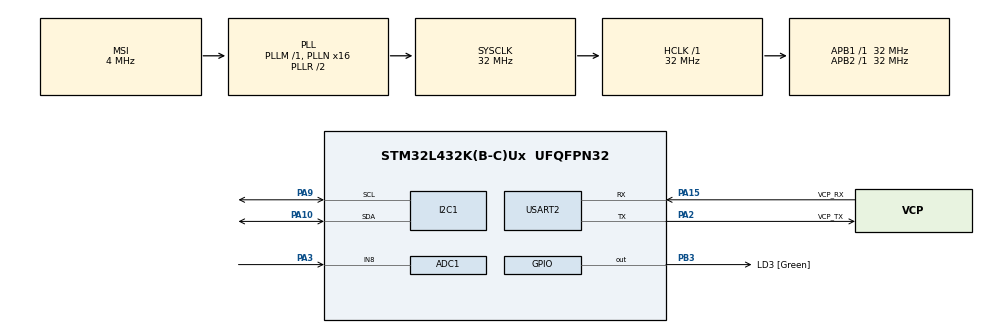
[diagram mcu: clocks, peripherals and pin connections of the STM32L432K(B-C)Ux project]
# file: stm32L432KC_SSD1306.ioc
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ADC1.Channel-1\#ChannelRegularConversion=ADC_CHANNEL_8
ADC1.ContinuousConvMode=ENABLE
ADC1.NbrOfConversionFlag=1
ADC1.OffsetNumber-1\#ChannelRegularConversion=ADC_OFFSET_NONE
ADC1.Rank-1\#ChannelRegularConversion=1
ADC1.SamplingTime-1\#ChannelRegularConversion=ADC_SAMPLETIME_2CYCLES_5
ADC1.master=1
I2C1.Timing=0x00707CBB
Mcu.Family=STM32L4
Mcu.Name=STM32L432K(B-C)Ux
Mcu.Package=UFQFPN32
NVIC.PriorityGroup=NVIC_PRIORITYGROUP_4
PA0.GPIO_Label=MCO [High speed clock in]
PA0.Mode=HSE-External-Clock-Source-for-LittleOrca
PA0.Signal=RCC_CK_IN
PA10.Mode=I2C
PA10.Signal=I2C1_SDA
PA13\ (JTMS-SWDIO).GPIO_Label=SWDIO
PA13\ (JTMS-SWDIO).Mode=Serial_Wire
PA13\ (JTMS-SWDIO).Signal=SYS_JTMS-SWDIO
PA14\ (JTCK-SWCLK).GPIO_Label=SWCLK
PA14\ (JTCK-SWCLK).Mode=Serial_Wire
PA14\ (JTCK-SWCLK).Signal=SYS_JTCK-SWCLK
PA15\ (JTDI).GPIO_Label=VCP_RX
PA15\ (JTDI).Mode=Asynchronous
PA15\ (JTDI).Signal=USART2_RX
PA2.GPIO_Label=VCP_TX
PA2.Mode=Asynchronous
PA2.Signal=USART2_TX
PA3.Signal=ADCx_IN8
PA9.Mode=I2C
PA9.Signal=I2C1_SCL
PB3\ (JTDO-TRACESWO).GPIO_Label=LD3 [Green]
PB3\ (JTDO-TRACESWO).Signal=GPIO_Output
PC14-OSC32_IN\ (PC14).Mode=LSE-External-Oscillator
PC14-OSC32_IN\ (PC14).Signal=RCC_OSC32_IN
PC15-OSC32_OUT\ (PC15).Mode=LSE-External-Oscillator
PC15-OSC32_OUT\ (PC15).Signal=RCC_OSC32_OUT
ProjectManager.HeapSize=0x200
ProjectManager.StackSize=0x400
ProjectManager.TargetToolchain=STM32CubeIDE
RCC.ADCFreq_Value=32000000
RCC.AHBFreq_Value=32000000
RCC.APB1Freq_Value=32000000
RCC.APB1TimFreq_Value=32000000
RCC.APB2Freq_Value=32000000
RCC.APB2TimFreq_Value=32000000
RCC.CortexFreq_Value=32000000
RCC.HCLKFreq_Value=32000000
RCC.HSE_VALUE=8000000
RCC.HSI16_VALUE=16000000
RCC.HSI48_VALUE=48000000
RCC.HSI_VALUE=16000000
RCC.MSI_VALUE=4000000
RCC.PLLMUL=RCC_PLLMUL_4
RCC.PLLN=16
RCC.PLLSAI1N=16
RCC.SYSCLKFreq_VALUE=32000000
RCC.SYSCLKSource=RCC_SYSCLKSOURCE_PLLCLK
RCC.USBFreq_Value=32000000
RCC.VCOOutputFreq_Value=64000000
SH.ADCx_IN8.0=ADC1_IN8,IN8-Single-Ended
USART2.VirtualMode-Asynchronous=VM_ASYNC
board=NUCLEO-L432KC

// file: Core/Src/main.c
/* USER CODE BEGIN Header */
/**
  ******************************************************************************
  * @file           : main.c
  * @brief          : Main program body
  ******************************************************************************
  * @attention
  *
  * <h2><center>&copy; Copyright (c) 2020 STMicroelectronics.
  * All rights reserved.</center></h2>
  *
  * This software component is licensed by ST under BSD 3-Clause license,
  * the "License"; You may not use this file except in compliance with the
  * License. You may obtain a copy of the License at:
  *                        opensource.org/licenses/BSD-3-Clause
  *
  ******************************************************************************
  */
/* USER CODE END Header */

#include "main.h"
/* USER CODE BEGIN Includes */
#include <ssd1306_tests.h>
#include <ssd1306.h>
#include <string.h>
#include <stdio.h>
#include <stdbool.h>
/* USER CODE END Includes */

/* USER CODE BEGIN PTD */
typedef struct {
char height;
char width;
bool blockShape[3][3];
}block;

 block *blocks[4];
 block longBlock = {.height =4,.width =1, .blockShape ={{1,1,1,1}}};
 block blitzBlock = {.height = 2,.width = 3, .blockShape = {{0,1,1},{1,1,0}}};
 block Lblock = {.height =3,.width =2,.blockShape = {{1,1},{1,0},{1,1}}};
 block Tblock = {.height = 22,.width =3,.blockShape = {{1,1,1},{0,1,0}}};

typedef struct {
	int bufferheight;// = 4;

	int blockheight; //= 0;
	int blockwidth; // = 0;

    int xCoordUnderBrick;// = 0; //TrackHeight Of bootom of brick
    int yCoordLeftBrick;// = 0; //Tack ypos of brick from lest side

	int height;// = 16 + bufferheight;
	int width;// = 8;
	int score;// = 0;
	bool playingfield[20][8];     /*= {{0,0,0,0,0,0,0,0}  //BUFF
                                       ,{0,0,0,0,0,0,0,0}  //BUFF
                                    ,{0,0,0,0,0,0,0,0}  //BUFF
                                       ,{0,0,0,0,0,0,0,0}  //BUFF
                                       ,{0,0,0,0,0,0,0,0}  //1
   		                         ,{0,0,0,0,0,0,0,0}  //2
                                     ,{0,0,0,0,0,0,0,0}  //3
                                     ,{0,0,0,0,0,0,0,0}  //4
	                                 ,{0,0,0,0,0,0,0,0}  //5
	                                 ,{0,0,0,0,0,0,0,0}  //6
	                                 ,{0,0,0,0,0,0,0,0}  //6
	                                 ,{0,0,0,0,0,0,0,0}  //7
	                                 ,{0,0,0,0,0,0,0,0}  //8
	                                 ,{0,0,0,0,0,0,0,0}  //9
	                                 ,{0,0,0,0,0,0,0,0}  //10
	                                 ,{0,0,0,0,0,0,0,0}  //11
		                         ,{0,0,0,0,0,0,0,0}  //12
		                         ,{0,0,0,0,0,0,0,0}  //13
		                         ,{0,0,0,0,0,0,0,0}  //14
		                         ,{0,0,0,0,0,0,0,0}  //15
		                         ,{0,0,0,0,0,0,0,0}};*///16

	//For when block is being placed (has to do with die checking)
	bool ghostBlockField[20][8];/*= {{0,0,0,0,0,0,0,0}  //BUFF
                                   ,{0,0,0,0,0,0,0,0}  //BUFF
                                          ,{0,0,0,0,0,0,0,0}  //BUFF
                                          ,{0,0,0,0,0,0,0,0}  //BUFF
	                                  ,{0,0,0,0,0,0,0,0}  //1
    		                          ,{0,0,0,0,0,0,0,0}  //2
                                          ,{0,0,0,0,0,0,0,0}  //3
                                          ,{0,0,0,0,0,0,0,0}  //4
	                                  ,{0,0,0,0,0,0,0,0}  //5
	                                  ,{0,0,0,0,0,0,0,0}  //6
	                                  ,{0,0,0,0,0,0,0,0}  //6
	                                  ,{0,0,0,0,0,0,0,0}  //7
	                                  ,{0,0,0,0,0,0,0,0}  //8
	                                  ,{0,0,0,0,0,0,0,0}  //9
	                                  ,{0,0,0,0,0,0,0,0}  //10
	                                  ,{0,0,0,0,0,0,0,0}  //11
		                          ,{0,0,0,0,0,0,0,0}  //12
		                          ,{0,0,0,0,0,0,0,0}  //13
		                          ,{0,0,0,0,0,0,0,0}  //14
		                          ,{0,0,0,0,0,0,0,0}  //15
		                          ,{0,0,0,0,0,0,0,0}};//16 */
} tetrisgame;

/* USER CODE END PTD */

/* USER CODE BEGIN PD */
#define SSD1306_USE_I2C
#define __DEBUG 1
#define BUFFERSIZE 100
#define I2CBUF	12
#define debug_print(x) 	do { if ( __DEBUG ) { strcpy(uartBuffer, x); HAL_UART_Transmit(&huart2, (unsigned char*) uartBuffer, strlen(uartBuffer), HAL_MAX_DELAY); }} while (0)
/* USER CODE END PD */

/* USER CODE BEGIN PM */
void SystemClock_Config(void);
static void MX_GPIO_Init(void);
static void MX_USART2_UART_Init(void);
static void MX_I2C1_Init(void);

void FillArr(tetrisgame *t);
int* checkline(tetrisgame *t);
bool checkdead(tetrisgame *t);
void printLCD(tetrisgame *t);
//Deze twee werken in conjunctie samen
void dropblock(tetrisgame *t);
void placeblock(tetrisgame *t);

void newblock(tetrisgame *t,block *blockarr[],char blockcounter);
/* USER CODE END PM */

ADC_HandleTypeDef hadc1;

I2C_HandleTypeDef hi2c1;

UART_HandleTypeDef huart2;

/* USER CODE BEGIN PV */
const uint8_t SSD1306_ADDRESS = 0x3C << 1;
const uint8_t RANDOM_REG = 0x0F;

char uartBuffer[BUFFERSIZE] = "";
uint8_t I2CBuffer[I2CBUF] = {0};
HAL_StatusTypeDef returnValue = 0;

/* USER CODE END PV */

void SystemClock_Config(void);
static void MX_GPIO_Init(void);
static void MX_USART2_UART_Init(void);
static void MX_ADC1_Init(void);
static void MX_I2C1_Init(void);

/* USER CODE BEGIN 0 */
void init() {
	//ssd1306_TestAll();
}
/* USER CODE END 0 */

int main(void)
{
  /* USER CODE BEGIN 1 */
  tetrisgame tgame;
  FillArr(&tgame);
blocks[0] = &longBlock;
blocks[1] = &blitzBlock;
blocks[2] = &Lblock;
blocks[3] = &Tblock;
  /* USER CODE END 1 */

  /* MCU Configuration--------------------------------------------------------*/

  /* Reset of all peripherals, Initializes the Flash interface and the Systick. */
  HAL_Init();

  /* Configure the system clock */
  SystemClock_Config();

  /* Initialize all configured peripherals */
  MX_GPIO_Init();
  MX_USART2_UART_Init();
  MX_ADC1_Init();
  MX_I2C1_Init();
  /* USER CODE BEGIN 2 */
  char blockcounter = 0;
  /* USER CODE END 2 */

  /* Infinite loop */
  /* USER CODE BEGIN WHILE */
  while (1){
	  newblock(&tgame, &blocks, blockcounter);
	  placeblock(&tgame);
	  checkline(&tgame);
	  printLCD(&tgame);
	  checkdead(&tgame);
	  HAL_Delay(250);
	   blockcounter++;
  }
    /* USER CODE END WHILE */

}

void SystemClock_Config(void)
{
  RCC_OscInitTypeDef RCC_OscInitStruct = {0};
  RCC_ClkInitTypeDef RCC_ClkInitStruct = {0};
  RCC_PeriphCLKInitTypeDef PeriphClkInit = {0};

  /** Configure LSE Drive Capability
  */
  HAL_PWR_EnableBkUpAccess();
  __HAL_RCC_LSEDRIVE_CONFIG(RCC_LSEDRIVE_LOW);
  /** Initializes the CPU, AHB and APB busses clocks
  */
  RCC_OscInitStruct.OscillatorType = RCC_OSCILLATORTYPE_LSE|RCC_OSCILLATORTYPE_MSI;
  RCC_OscInitStruct.LSEState = RCC_LSE_ON;
  RCC_OscInitStruct.MSIState = RCC_MSI_ON;
  RCC_OscInitStruct.MSICalibrationValue = 0;
  RCC_OscInitStruct.MSIClockRange = RCC_MSIRANGE_6;
  RCC_OscInitStruct.PLL.PLLState = RCC_PLL_ON;
  RCC_OscInitStruct.PLL.PLLSource = RCC_PLLSOURCE_MSI;
  RCC_OscInitStruct.PLL.PLLM = 1;
  RCC_OscInitStruct.PLL.PLLN = 16;
  RCC_OscInitStruct.PLL.PLLP = RCC_PLLP_DIV7;
  RCC_OscInitStruct.PLL.PLLQ = RCC_PLLQ_DIV2;
  RCC_OscInitStruct.PLL.PLLR = RCC_PLLR_DIV2;
  if (HAL_RCC_OscConfig(&RCC_OscInitStruct) != HAL_OK)
  {
    Error_Handler();
  }
  /** Initializes the CPU, AHB and APB busses clocks
  */
  RCC_ClkInitStruct.ClockType = RCC_CLOCKTYPE_HCLK|RCC_CLOCKTYPE_SYSCLK
                              |RCC_CLOCKTYPE_PCLK1|RCC_CLOCKTYPE_PCLK2;
  RCC_ClkInitStruct.SYSCLKSource = RCC_SYSCLKSOURCE_PLLCLK;
  RCC_ClkInitStruct.AHBCLKDivider = RCC_SYSCLK_DIV1;
  RCC_ClkInitStruct.APB1CLKDivider = RCC_HCLK_DIV1;
  RCC_ClkInitStruct.APB2CLKDivider = RCC_HCLK_DIV1;

  if (HAL_RCC_ClockConfig(&RCC_ClkInitStruct, FLASH_LATENCY_1) != HAL_OK)
  {
    Error_Handler();
  }
  PeriphClkInit.PeriphClockSelection = RCC_PERIPHCLK_USART2|RCC_PERIPHCLK_I2C1
                              |RCC_PERIPHCLK_ADC;
  PeriphClkInit.Usart2ClockSelection = RCC_USART2CLKSOURCE_PCLK1;
  PeriphClkInit.I2c1ClockSelection = RCC_I2C1CLKSOURCE_PCLK1;
  PeriphClkInit.AdcClockSelection = RCC_ADCCLKSOURCE_PLLSAI1;
  PeriphClkInit.PLLSAI1.PLLSAI1Source = RCC_PLLSOURCE_MSI;
  PeriphClkInit.PLLSAI1.PLLSAI1M = 1;
  PeriphClkInit.PLLSAI1.PLLSAI1N = 16;
  PeriphClkInit.PLLSAI1.PLLSAI1P = RCC_PLLP_DIV7;
  PeriphClkInit.PLLSAI1.PLLSAI1Q = RCC_PLLQ_DIV2;
  PeriphClkInit.PLLSAI1.PLLSAI1R = RCC_PLLR_DIV2;
  PeriphClkInit.PLLSAI1.PLLSAI1ClockOut = RCC_PLLSAI1_ADC1CLK;
  if (HAL_RCCEx_PeriphCLKConfig(&PeriphClkInit) != HAL_OK)
  {
    Error_Handler();
  }
  /** Configure the main internal regulator output voltage
  */
  if (HAL_PWREx_ControlVoltageScaling(PWR_REGULATOR_VOLTAGE_SCALE1) != HAL_OK)
  {
    Error_Handler();
  }
  /** Enable MSI Auto calibration
  */
  HAL_RCCEx_EnableMSIPLLMode();
}

static void MX_ADC1_Init(void)
{

  ADC_ChannelConfTypeDef sConfig = {0};

  /** Common config
  */
  hadc1.Instance = ADC1;
  hadc1.Init.ClockPrescaler = ADC_CLOCK_ASYNC_DIV1;
  hadc1.Init.Resolution = ADC_RESOLUTION_12B;
  hadc1.Init.DataAlign = ADC_DATAALIGN_RIGHT;
  hadc1.Init.ScanConvMode = ADC_SCAN_DISABLE;
  hadc1.Init.EOCSelection = ADC_EOC_SINGLE_CONV;
  hadc1.Init.LowPowerAutoWait = DISABLE;
  hadc1.Init.ContinuousConvMode = ENABLE;
  hadc1.Init.NbrOfConversion = 1;
  hadc1.Init.DiscontinuousConvMode = DISABLE;
  hadc1.Init.ExternalTrigConv = ADC_SOFTWARE_START;
  hadc1.Init.ExternalTrigConvEdge = ADC_EXTERNALTRIGCONVEDGE_NONE;
  hadc1.Init.DMAContinuousRequests = DISABLE;
  hadc1.Init.Overrun = ADC_OVR_DATA_PRESERVED;
  hadc1.Init.OversamplingMode = DISABLE;
  if (HAL_ADC_Init(&hadc1) != HAL_OK)
  {
    Error_Handler();
  }
  /** Configure Regular Channel
  */
  sConfig.Channel = ADC_CHANNEL_8;
  sConfig.Rank = ADC_REGULAR_RANK_1;
  sConfig.SamplingTime = ADC_SAMPLETIME_2CYCLES_5;
  sConfig.SingleDiff = ADC_SINGLE_ENDED;
  sConfig.OffsetNumber = ADC_OFFSET_NONE;
  sConfig.Offset = 0;
  if (HAL_ADC_ConfigChannel(&hadc1, &sConfig) != HAL_OK)
  {
    Error_Handler();
  }

}

static void MX_I2C1_Init(void)
{

  hi2c1.Instance = I2C1;
  hi2c1.Init.Timing = 0x00707CBB;
  hi2c1.Init.OwnAddress1 = 0;
  hi2c1.Init.AddressingMode = I2C_ADDRESSINGMODE_7BIT;
  hi2c1.Init.DualAddressMode = I2C_DUALADDRESS_DISABLE;
  hi2c1.Init.OwnAddress2 = 0;
  hi2c1.Init.OwnAddress2Masks = I2C_OA2_NOMASK;
  hi2c1.Init.GeneralCallMode = I2C_GENERALCALL_DISABLE;
  hi2c1.Init.NoStretchMode = I2C_NOSTRETCH_DISABLE;
  if (HAL_I2C_Init(&hi2c1) != HAL_OK)
  {
    Error_Handler();
  }
  /** Configure Analogue filter
  */
  if (HAL_I2CEx_ConfigAnalogFilter(&hi2c1, I2C_ANALOGFILTER_ENABLE) != HAL_OK)
  {
    Error_Handler();
  }
  /** Configure Digital filter
  */
  if (HAL_I2CEx_ConfigDigitalFilter(&hi2c1, 0) != HAL_OK)
  {
    Error_Handler();
  }

}

static void MX_USART2_UART_Init(void)
{

  huart2.Instance = USART2;
  huart2.Init.BaudRate = 115200;
  huart2.Init.WordLength = UART_WORDLENGTH_8B;
  huart2.Init.StopBits = UART_STOPBITS_1;
  huart2.Init.Parity = UART_PARITY_NONE;
  huart2.Init.Mode = UART_MODE_TX_RX;
  huart2.Init.HwFlowCtl = UART_HWCONTROL_NONE;
  huart2.Init.OverSampling = UART_OVERSAMPLING_16;
  huart2.Init.OneBitSampling = UART_ONE_BIT_SAMPLE_DISABLE;
  huart2.AdvancedInit.AdvFeatureInit = UART_ADVFEATURE_NO_INIT;
  if (HAL_UART_Init(&huart2) != HAL_OK)
  {
    Error_Handler();
  }

}

static void MX_GPIO_Init(void)
{
  GPIO_InitTypeDef GPIO_InitStruct = {0};

  /* GPIO Ports Clock Enable */
  __HAL_RCC_GPIOC_CLK_ENABLE();
  __HAL_RCC_GPIOA_CLK_ENABLE();
  __HAL_RCC_GPIOB_CLK_ENABLE();

  /*Configure GPIO pin Output Level */
  HAL_GPIO_WritePin(LD3_GPIO_Port, LD3_Pin, GPIO_PIN_RESET);

  /*Configure GPIO pin : LD3_Pin */
  GPIO_InitStruct.Pin = LD3_Pin;
  GPIO_InitStruct.Mode = GPIO_MODE_OUTPUT_PP;
  GPIO_InitStruct.Pull = GPIO_NOPULL;
  GPIO_InitStruct.Speed = GPIO_SPEED_FREQ_LOW;
  HAL_GPIO_Init(LD3_GPIO_Port, &GPIO_InitStruct);

}

/* USER CODE BEGIN 4 */

int* checkline(tetrisgame *t) {
	int linesCount = 0;
	static int lines[4]; //MaxLines met een block is 4

	for(int y = 0; y <= (&t->height)-1-(&t->bufferheight); y++) {
		for(int x = 0; x <= (t->width)-1; x++) {
			if(&t->playingfield[x][y] == 0) { break; }
			else if (x == 7) {lines[linesCount] = y; linesCount++;}
		}
	}
	return lines;
}

bool checkdead(tetrisgame *t) {
	for(int x = 0; x <= (t->width)-1; x++) {
		if(t->playingfield[x][15] == 1) { return 1;}
	}
	return 0;
}

void placeblock(tetrisgame *t) {
	bool placevalue = 0;

	if(&t->xCoordUnderBrick == 0) {
		placevalue = 1;
	}
	else {
		for(int x = t->xCoordUnderBrick; x <= (int)t->height + (int)t->xCoordUnderBrick; x++) {
			for(int y = t->yCoordLeftBrick; y <= (int)t->width + (int)t->yCoordLeftBrick; y++) {
		        if(t->playingfield[x-1][y] == 1 && t->ghostBlockField[x][y] == 1) { placevalue = 1; }
		    }
		}
	if(placevalue == 1) {
		//Place block
		for(int x = t->xCoordUnderBrick; x <= (int)t->height + (int)t->xCoordUnderBrick; x++) {
			for(int y = t->yCoordLeftBrick; y <= (int)t->width + (int)t->yCoordLeftBrick; y++) {
				t->playingfield[x][y] = t->ghostBlockField[x][y] + t->playingfield[x][y];
	     	    }
			}
		//Clear Ghost Arr
		for(int x = t->xCoordUnderBrick; x <= (int)t->height + (int)t->xCoordUnderBrick; x++) {
			for(int y = t->yCoordLeftBrick; y <= (int)t->width + (int)t->yCoordLeftBrick; y++) {
				t->ghostBlockField[x][y] = 0;
		        }
	        }
	    }
	else {
	    for(int x = t->xCoordUnderBrick; x <= (int)t->height + (int)t->xCoordUnderBrick; x++) {
		    for(int y = t->yCoordLeftBrick; y <= (int)t->width + (int)t->yCoordLeftBrick; y++) {
			    t->ghostBlockField[x][y] = 0;
			    t->ghostBlockField[x][y-1] = 1;
		    }
        }
	    t->xCoordUnderBrick = t->xCoordUnderBrick-1;
        }
    }
}

void printLCD(tetrisgame *t) {
	ssd1306_Fill(Black);
	for(int x = 0; x <= t->width; x++) {
		for(int y = t->bufferheight - 1; y <= (int)t->height + (int)t->bufferheight; y++) {
			if(t->playingfield[x][y] == 1) {
				for(int a = (x*8); a <= (x*8)+7; a++) { for(int b = (y*8); b <= (y*8)+7; b++) { ssd1306_DrawPixel(a,b,White); }}
		    }
	    }
    }
}

void FillArr(tetrisgame *t)
{
  for(int x =0; x <8;x++ ) {
      for(int y =0;y<20;y++ ) {
	  t->playingfield[x][y]= 0;
	  t->ghostBlockField[x][y]= 0;
      }
  }
}
void newblock(tetrisgame *t,block *blockarr[], char blockcounter)
{

for(char i = 0; i< blockarr[blockcounter] -> width; i++){
    for(char l = 0; l< blockarr[blockcounter] ->height; l++){
    t-> ghostBlockField[i+3][l+3] =  t->ghostBlockField[i][l] +  blockarr[blockcounter]->blockShape[i][l];
   }
  }
}
/* USER CODE END 4 */

void Error_Handler(void)
{
}

/************************ (C) COPYRIGHT STMicroelectronics *****END OF FILE****/
